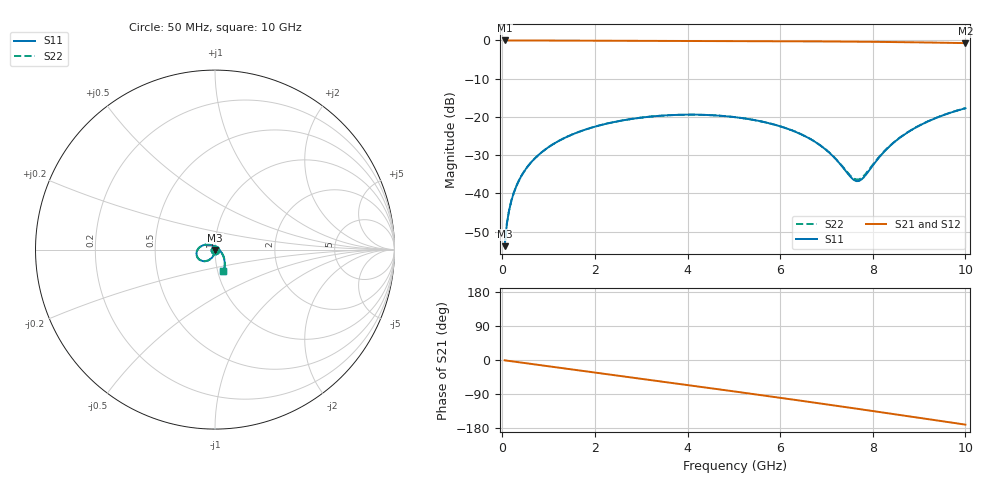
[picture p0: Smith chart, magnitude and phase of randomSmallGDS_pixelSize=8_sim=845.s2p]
! freq	dB(S11)	phase(S11)	dB(S12)	phase(S12)
!  dB(S21)	phase(S21)	dB(S22)	phase(S22)
!S-par simulation data
#  GHz  S  DB  R 50
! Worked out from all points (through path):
!   200 points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, 50 MHz to 10 GHz, reference 50 ohm
!   highest |S21| = 0.00 dB at 50 MHz (marker M1); lowest = -0.7 dB at 10 GHz (marker M2)
!   group delay of S21, straight-line fit = 47.2 ps
!   lowest |S11| = -53.8 dB at 50 MHz (marker M3), VSWR 1.00, Z = 50 - j0.205 ohm
!   |S11| at or under -10 dB: start of sweep to end of sweep
!   |S22| runs from -53.8 to -17.7 dB; largest |S21 - S12| = 0
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0.05  -53.78 -90.3  -0.00 -0.8  -0.00 -0.8  -53.78 -90.3
0.1  -47.76 -91.6  -0.00 -1.7  -0.00 -1.7  -47.76 -91.6
0.15  -44.22 -92.7  -0.00 -2.5  -0.00 -2.5  -44.22 -92.7
0.2  -41.72 -93.7  -0.00 -3.3  -0.00 -3.3  -41.72 -93.7
0.35  -36.84 -96.4  -0.01 -5.8  -0.01 -5.8  -36.84 -96.4
0.5  -33.75 -99.0  -0.01 -8.3  -0.01 -8.3  -33.75 -99.0
0.7  -30.86 -102.4  -0.02 -11.7  -0.02 -11.7  -30.86 -102.4
1  -27.87 -107.5  -0.03 -16.6  -0.03 -16.6  -27.87 -107.5
1.75  -23.48 -120.2  -0.05 -29.0  -0.05 -29.0  -23.48 -120.2
2.5  -21.11 -132.8  -0.08 -41.3  -0.08 -41.3  -21.11 -132.8
3.4  -19.70 -148.0  -0.11 -56.2  -0.11 -56.2  -19.70 -148.1
4.25  -19.42 -162.7  -0.14 -70.2  -0.14 -70.2  -19.42 -162.8
5.05  -20.09 -177.3  -0.17 -83.6  -0.17 -83.6  -20.09 -177.4
6  -22.44 163.6  -0.21 -99.7  -0.21 -99.7  -22.44 163.3
6.7  -26.11 145.5  -0.24 -111.8  -0.24 -111.8  -26.09 144.9
7.1  -29.77 129.0  -0.27 -118.8  -0.27 -118.8  -29.72 128.1
7.5  -35.39 90.3  -0.30 -125.8  -0.30 -125.8  -35.12 88.9
7.65  -36.78 59.9  -0.32 -128.5  -0.32 -128.5  -36.38 59.4
7.8  -35.85 27.2  -0.33 -131.1  -0.33 -131.1  -35.49 28.0
8.35  -27.82 -25.8  -0.40 -140.9  -0.40 -140.9  -27.74 -24.7
9.05  -21.99 -48.6  -0.51 -153.4  -0.51 -153.4  -21.96 -47.9
10  -17.73 -69.3  -0.69 -170.5  -0.69 -170.5  -17.71 -68.8
